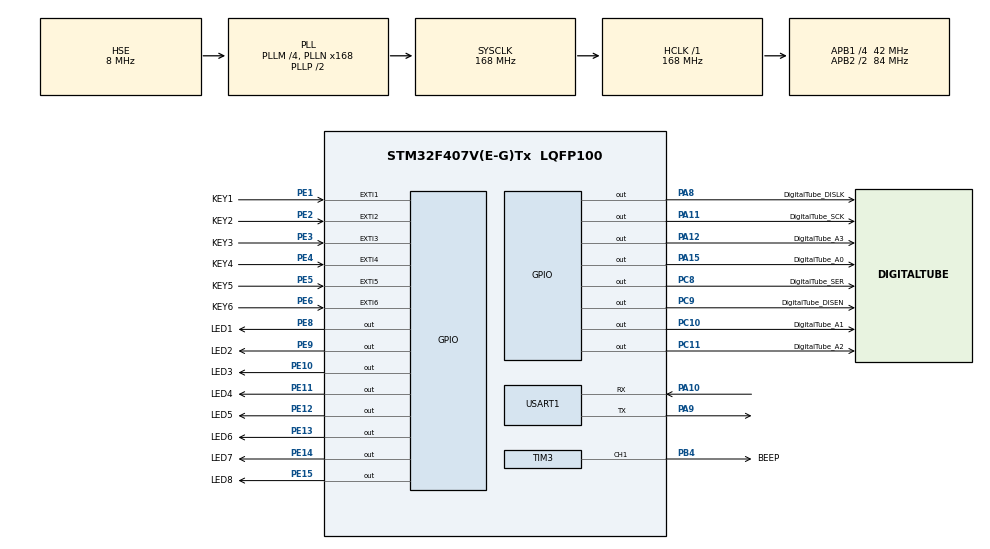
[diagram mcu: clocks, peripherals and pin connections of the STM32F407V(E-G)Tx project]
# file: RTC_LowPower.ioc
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FREERTOS.HEAP_NUMBER=4
FREERTOS.Tasks01=RTCTask,24,256,StartRTCTask,Default,NULL,Dynamic,NULL,NULL;KeyTask,24,256,StartKeyTask,Default,NULL,Dynamic,NULL,NULL;BeepTask,24,256,StartBeepTask,Default,NULL,Dynamic,NULL,NULL;DigitaTubeTask,24,256,StartDigitaTubeTask,Default,NULL,Dynamic,NULL,NULL;LedTask,24,256,StartLedTask,Default,NULL,Dynamic,NULL,NULL
FREERTOS.configENABLE_FPU=0
Mcu.Family=STM32F4
Mcu.Name=STM32F407V(E-G)Tx
Mcu.Package=LQFP100
NVIC.EXTI1_IRQn=true\:6\:0\:true\:false\:true\:true\:true\:true
NVIC.EXTI2_IRQn=true\:6\:0\:true\:false\:true\:true\:true\:true
NVIC.EXTI3_IRQn=true\:6\:0\:true\:false\:true\:true\:true\:true
NVIC.EXTI4_IRQn=true\:6\:0\:true\:false\:true\:true\:true\:true
NVIC.EXTI9_5_IRQn=true\:6\:0\:true\:false\:true\:true\:true\:true
NVIC.PriorityGroup=NVIC_PRIORITYGROUP_4
NVIC.RTC_Alarm_IRQn=true\:6\:0\:true\:false\:true\:true\:true\:true
NVIC.RTC_WKUP_IRQn=true\:6\:0\:true\:false\:true\:true\:true\:true
NVIC.TIM8_TRG_COM_TIM14_IRQn=true\:0\:0\:false\:false\:true\:false\:false\:true
NVIC.TimeBase=TIM8_TRG_COM_TIM14_IRQn
NVIC.TimeBaseIP=TIM14
PA10.Mode=Asynchronous
PA10.Signal=USART1_RX
PA11.GPIO_Label=DigitalTube_SCK
PA11.Signal=GPIO_Output
PA12.GPIO_Label=DigitalTube_A3
PA12.Signal=GPIO_Output
PA13.Mode=Serial_Wire
PA13.Signal=SYS_JTMS-SWDIO
PA14.Mode=Serial_Wire
PA14.Signal=SYS_JTCK-SWCLK
PA15.GPIO_Label=DigitalTube_A0
PA15.Signal=GPIO_Output
PA8.GPIO_Label=DigitalTube_DISLK
PA8.Signal=GPIO_Output
PA9.Mode=Asynchronous
PA9.Signal=USART1_TX
PB4.GPIO_Label=BEEP
PB4.Signal=S_TIM3_CH1
PC10.GPIO_Label=DigitalTube_A1
PC10.Signal=GPIO_Output
PC11.GPIO_Label=DigitalTube_A2
PC11.Signal=GPIO_Output
PC14-OSC32_IN.Mode=LSE-External-Oscillator
PC14-OSC32_IN.Signal=RCC_OSC32_IN
PC15-OSC32_OUT.Mode=LSE-External-Oscillator
PC15-OSC32_OUT.Signal=RCC_OSC32_OUT
PC8.GPIO_Label=DigitalTube_SER
PC8.Signal=GPIO_Output
PC9.GPIO_Label=DigitalTube_DISEN
PC9.Signal=GPIO_Output
PE1.GPIO_Label=KEY1
PE1.GPIO_ModeDefaultEXTI=GPIO_MODE_IT_RISING
PE1.GPIO_PuPd=GPIO_PULLUP
PE1.Signal=GPXTI1
PE10.GPIO_Label=LED3
PE10.PinState=GPIO_PIN_SET
PE10.Signal=GPIO_Output
PE11.GPIO_Label=LED4
PE11.PinState=GPIO_PIN_SET
PE11.Signal=GPIO_Output
PE12.GPIO_Label=LED5
PE12.PinState=GPIO_PIN_SET
PE12.Signal=GPIO_Output
PE13.GPIO_Label=LED6
PE13.PinState=GPIO_PIN_SET
PE13.Signal=GPIO_Output
PE14.GPIO_Label=LED7
PE14.PinState=GPIO_PIN_SET
PE14.Signal=GPIO_Output
PE15.GPIO_Label=LED8
PE15.PinState=GPIO_PIN_SET
PE15.Signal=GPIO_Output
PE2.GPIO_Label=KEY2
PE2.GPIO_ModeDefaultEXTI=GPIO_MODE_IT_RISING
PE2.GPIO_PuPd=GPIO_PULLUP
PE2.Signal=GPXTI2
PE3.GPIO_Label=KEY3
PE3.GPIO_ModeDefaultEXTI=GPIO_MODE_IT_RISING
PE3.GPIO_PuPd=GPIO_PULLUP
PE3.Signal=GPXTI3
PE4.GPIO_Label=KEY4
PE4.GPIO_ModeDefaultEXTI=GPIO_MODE_IT_RISING
PE4.GPIO_PuPd=GPIO_PULLUP
PE4.Signal=GPXTI4
PE5.GPIO_Label=KEY5
PE5.GPIO_PuPd=GPIO_PULLDOWN
PE5.Signal=GPXTI5
PE6.GPIO_Label=KEY6
PE6.GPIO_PuPd=GPIO_PULLDOWN
PE6.Signal=GPXTI6
PE8.GPIO_Label=LED1
PE8.PinState=GPIO_PIN_SET
PE8.Signal=GPIO_Output
PE9.GPIO_Label=LED2
PE9.PinState=GPIO_PIN_SET
PE9.Signal=GPIO_Output
PH0-OSC_IN.Mode=HSE-External-Oscillator
PH0-OSC_IN.Signal=RCC_OSC_IN
PH1-OSC_OUT.Mode=HSE-External-Oscillator
PH1-OSC_OUT.Signal=RCC_OSC_OUT
ProjectManager.HeapSize=0x200
ProjectManager.StackSize=0x400
ProjectManager.TargetToolchain=SW4STM32
RCC.48MHZClocksFreq_Value=84000000
RCC.AHBFreq_Value=168000000
RCC.APB1CLKDivider=RCC_HCLK_DIV4
RCC.APB1Freq_Value=42000000
RCC.APB1TimFreq_Value=84000000
RCC.APB2CLKDivider=RCC_HCLK_DIV2
RCC.APB2Freq_Value=84000000
RCC.APB2TimFreq_Value=168000000
RCC.CortexFreq_Value=168000000
RCC.HCLKFreq_Value=168000000
RCC.HSE_VALUE=8000000
RCC.HSI_VALUE=16000000
RCC.PLLM=4
RCC.PLLN=168
RCC.PLLSourceVirtual=RCC_PLLSOURCE_HSE
RCC.RCC_RTC_Clock_SourceVirtual=RCC_RTCCLKSOURCE_LSE
RCC.RCC_RTC_Clock_Source_FROM_HSE=RCC_RTCCLKSOURCE_HSE_DIV8
RCC.SYSCLKFreq_VALUE=168000000
RCC.SYSCLKSource=RCC_SYSCLKSOURCE_PLLCLK
RCC.VCOOutputFreq_Value=336000000
RTC.Alarm=RTC_ALARM_A
RTC.Date=8
RTC.Format=RTC_FORMAT_BIN
RTC.Hours=22
RTC.Minutes=20
RTC.Month=RTC_MONTH_DECEMBER
RTC.WeekDay=RTC_WEEKDAY_TUESDAY
RTC.Year=20
SH.S_TIM3_CH1.0=TIM3_CH1,PWM Generation1 CH1
TIM3.AutoReloadPreload=TIM_AUTORELOAD_PRELOAD_ENABLE
TIM3.Channel-PWM\ Generation1\ CH1=TIM_CHANNEL_1
TIM3.OCPolarity_1=TIM_OCPOLARITY_LOW
TIM3.Period=299
TIM3.Prescaler=83
TIM3.Pulse-PWM\ Generation1\ CH1=200
USART1.VirtualMode=VM_ASYNC
VP_FREERTOS_VS_CMSIS_V2.Mode=CMSIS_V2
VP_RTC_VS_RTC_Activate.Mode=RTC_Enabled
VP_RTC_VS_RTC_Alarm_A_Intern.Mode=Alarm A
VP_RTC_VS_RTC_Calendar.Mode=RTC_Calendar
VP_RTC_VS_RTC_WakeUp_intern.Mode=WakeUp
VP_SYS_VS_tim14.Mode=TIM14
board=custom

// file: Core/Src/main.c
/* USER CODE BEGIN Header */
/**
  ******************************************************************************
  * @file           : main.c
  * @brief          : Main program body
  ******************************************************************************
  * @attention
  *
  * <h2><center>&copy; Copyright (c) 2020 STMicroelectronics.
  * All rights reserved.</center></h2>
  *
  * This software component is licensed by ST under Ultimate Liberty license
  * SLA0044, the "License"; You may not use this file except in compliance with
  * the License. You may obtain a copy of the License at:
  *                             www.st.com/SLA0044
  *
  ******************************************************************************
  */
/* USER CODE END Header */
#include "main.h"
#include "cmsis_os.h"
#include "rtc.h"
#include "tim.h"
#include "usart.h"
#include "gpio.h"

/* USER CODE BEGIN Includes */
#include <stdio.h>
/* USER CODE END Includes */

void SystemClock_Config(void);
void MX_FREERTOS_Init(void);

int main(void)
{

  /* MCU Configuration--------------------------------------------------------*/

  /* Reset of all peripherals, Initializes the Flash interface and the Systick. */
  HAL_Init();

  /* Configure the system clock */
  SystemClock_Config();

  /* Initialize all configured peripherals */
  MX_GPIO_Init();
  MX_USART1_UART_Init();
  MX_TIM3_Init();
  MX_RTC_Init();
  /* USER CODE BEGIN 2 */
    HAL_RTCEx_DeactivateWakeUpTimer(&hrtc);//�ر�RTC���ѹ���
    HAL_RTC_DeactivateAlarm(&hrtc, RTC_ALARM_A);//�ر�RTC���幦��
  /* USER CODE END 2 */

  /* Init scheduler */
  osKernelInitialize();  /* Call init function for freertos objects (in freertos.c) */
  MX_FREERTOS_Init();
  /* Start scheduler */
  osKernelStart();

  /* We should never get here as control is now taken by the scheduler */
  /* Infinite loop */
  while (1)
  {

  }
}

void SystemClock_Config(void)
{
  RCC_OscInitTypeDef RCC_OscInitStruct = {0};
  RCC_ClkInitTypeDef RCC_ClkInitStruct = {0};
  RCC_PeriphCLKInitTypeDef PeriphClkInitStruct = {0};

  /** Configure the main internal regulator output voltage
  */
  __HAL_RCC_PWR_CLK_ENABLE();
  __HAL_PWR_VOLTAGESCALING_CONFIG(PWR_REGULATOR_VOLTAGE_SCALE1);
  /** Initializes the RCC Oscillators according to the specified parameters
  * in the RCC_OscInitTypeDef structure.
  */
  RCC_OscInitStruct.OscillatorType = RCC_OSCILLATORTYPE_HSE|RCC_OSCILLATORTYPE_LSE;
  RCC_OscInitStruct.HSEState = RCC_HSE_ON;
  RCC_OscInitStruct.LSEState = RCC_LSE_ON;
  RCC_OscInitStruct.PLL.PLLState = RCC_PLL_ON;
  RCC_OscInitStruct.PLL.PLLSource = RCC_PLLSOURCE_HSE;
  RCC_OscInitStruct.PLL.PLLM = 4;
  RCC_OscInitStruct.PLL.PLLN = 168;
  RCC_OscInitStruct.PLL.PLLP = RCC_PLLP_DIV2;
  RCC_OscInitStruct.PLL.PLLQ = 4;
  if (HAL_RCC_OscConfig(&RCC_OscInitStruct) != HAL_OK)
  {
    Error_Handler();
  }
  /** Initializes the CPU, AHB and APB buses clocks
  */
  RCC_ClkInitStruct.ClockType = RCC_CLOCKTYPE_HCLK|RCC_CLOCKTYPE_SYSCLK
                              |RCC_CLOCKTYPE_PCLK1|RCC_CLOCKTYPE_PCLK2;
  RCC_ClkInitStruct.SYSCLKSource = RCC_SYSCLKSOURCE_PLLCLK;
  RCC_ClkInitStruct.AHBCLKDivider = RCC_SYSCLK_DIV1;
  RCC_ClkInitStruct.APB1CLKDivider = RCC_HCLK_DIV4;
  RCC_ClkInitStruct.APB2CLKDivider = RCC_HCLK_DIV2;

  if (HAL_RCC_ClockConfig(&RCC_ClkInitStruct, FLASH_LATENCY_5) != HAL_OK)
  {
    Error_Handler();
  }
  PeriphClkInitStruct.PeriphClockSelection = RCC_PERIPHCLK_RTC;
  PeriphClkInitStruct.RTCClockSelection = RCC_RTCCLKSOURCE_LSE;
  if (HAL_RCCEx_PeriphCLKConfig(&PeriphClkInitStruct) != HAL_OK)
  {
    Error_Handler();
  }
}

 /**
  * @brief  Period elapsed callback in non blocking mode
  * @note   This function is called  when TIM14 interrupt took place, inside
  * HAL_TIM_IRQHandler(). It makes a direct call to HAL_IncTick() to increment
  * a global variable "uwTick" used as application time base.
  * @param  htim : TIM handle
  * @retval None
  */
void HAL_TIM_PeriodElapsedCallback(TIM_HandleTypeDef *htim)
{
  if (htim->Instance == TIM14) {
    HAL_IncTick();
  }
}

void Error_Handler(void)
{
  /* USER CODE BEGIN Error_Handler_Debug */
  /* User can add his own implementation to report the HAL error return state */
//  __disable_irq();
//  while (1)
//  {
//  }
  /* USER CODE END Error_Handler_Debug */
}

/************************ (C) COPYRIGHT STMicroelectronics *****END OF FILE****/

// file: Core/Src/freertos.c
/* USER CODE BEGIN Header */
/**
  ******************************************************************************
  * File Name          : freertos.c
  * Description        : Code for freertos applications
  ******************************************************************************
  * @attention
  *
  * <h2><center>&copy; Copyright (c) 2020 STMicroelectronics.
  * All rights reserved.</center></h2>
  *
  * This software component is licensed by ST under Ultimate Liberty license
  * SLA0044, the "License"; You may not use this file except in compliance with
  * the License. You may obtain a copy of the License at:
  *                             www.st.com/SLA0044
  *
  ******************************************************************************
  */
/* USER CODE END Header */

#include "FreeRTOS.h"
#include "task.h"
#include "main.h"
#include "cmsis_os.h"

/* USER CODE BEGIN Includes */
#include <stdbool.h>
#include <stdio.h>
#include "rtc.h"
#include "DigitalTube.h"
#include "tim.h"
#include "LED.h"
/* USER CODE END Includes */

/* USER CODE BEGIN Variables */
uint8_t seg[4];//数码管

bool beep_switch = false;

bool led_switch = true;
uint32_t led_control_time = 200;

bool rtc_setting_switch = false;
uint8_t rtc_show_flag = 4;

bool low_power_swich = false;
/* USER CODE END Variables */
/* Definitions for RTCTask */
osThreadId_t RTCTaskHandle;
const osThreadAttr_t RTCTask_attributes = {
  .name = "RTCTask",
  .priority = (osPriority_t) osPriorityNormal,
  .stack_size = 256 * 4
};
/* Definitions for KeyTask */
osThreadId_t KeyTaskHandle;
const osThreadAttr_t KeyTask_attributes = {
  .name = "KeyTask",
  .priority = (osPriority_t) osPriorityNormal,
  .stack_size = 256 * 4
};
/* Definitions for BeepTask */
osThreadId_t BeepTaskHandle;
const osThreadAttr_t BeepTask_attributes = {
  .name = "BeepTask",
  .priority = (osPriority_t) osPriorityNormal,
  .stack_size = 256 * 4
};
/* Definitions for DigitaTubeTask */
osThreadId_t DigitaTubeTaskHandle;
const osThreadAttr_t DigitaTubeTask_attributes = {
  .name = "DigitaTubeTask",
  .priority = (osPriority_t) osPriorityNormal,
  .stack_size = 256 * 4
};
/* Definitions for LedTask */
osThreadId_t LedTaskHandle;
const osThreadAttr_t LedTask_attributes = {
  .name = "LedTask",
  .priority = (osPriority_t) osPriorityNormal,
  .stack_size = 256 * 4
};

/* USER CODE BEGIN FunctionPrototypes */
void EnterSleepMode(void);

void EnterStopMode(void);

/* USER CODE END FunctionPrototypes */

void StartRTCTask(void *argument);
void StartKeyTask(void *argument);
void StartBeepTask(void *argument);
void StartDigitaTubeTask(void *argument);
void StartLedTask(void *argument);

void MX_FREERTOS_Init(void); /* (MISRA C 2004 rule 8.1) */

void MX_FREERTOS_Init(void) {

  /* Create the thread(s) */
  /* creation of RTCTask */
  RTCTaskHandle = osThreadNew(StartRTCTask, NULL, &RTCTask_attributes);

  /* creation of KeyTask */
  KeyTaskHandle = osThreadNew(StartKeyTask, NULL, &KeyTask_attributes);

  /* creation of BeepTask */
  BeepTaskHandle = osThreadNew(StartBeepTask, NULL, &BeepTask_attributes);

  /* creation of DigitaTubeTask */
  DigitaTubeTaskHandle = osThreadNew(StartDigitaTubeTask, NULL, &DigitaTubeTask_attributes);

  /* creation of LedTask */
  LedTaskHandle = osThreadNew(StartLedTask, NULL, &LedTask_attributes);

}

void StartRTCTask(void *argument)
{
  /* USER CODE BEGIN StartRTCTask */
    uint32_t tick = 0;
    /* Infinite loop */
    for (;;) {
        if (osKernelGetTickCount() - tick >= 1000) {
            tick = osKernelGetTickCount();
            if (ReadRTCDateTime() == HAL_OK) {//每秒读取一次RTC时间
                switch (rtc_show_flag) {
                    case 1:
                        seg[0] = RTC_Year / 1000;
                        seg[1] = (RTC_Year % 1000) / 100;
                        seg[2] = (RTC_Year % 100) / 10;
                        seg[3] = RTC_Year % 10;
                        break;

                    case 2:
                        seg[0] = RTC_Mon / 10;
                        seg[1] = RTC_Mon % 10;
                        seg[2] = RTC_Dat / 10;
                        seg[3] = RTC_Dat % 10;
                        break;

                    case 3:
                        seg[0] = RTC_Hour / 10;
                        seg[1] = RTC_Hour % 10;
                        seg[2] = RTC_Min / 10;
                        seg[3] = RTC_Min % 10;
                        break;

                    case 4:
                        seg[0] = RTC_Min / 10;
                        seg[1] = RTC_Min % 10;
                        seg[2] = RTC_Sec / 10;
                        seg[3] = RTC_Sec % 10;
                        break;

                    default:
                        break;
                }
            }
        }
        osDelay(1);
    }
  /* USER CODE END StartRTCTask */
}

void StartKeyTask(void *argument)
{
  /* USER CODE BEGIN StartKeyTask */
    uint8_t key_state;
    uint32_t key_tick = 0;
    /* Infinite loop */
    for (;;) {
        //扫描按键
        key_state = 0;
        if (HAL_GPIO_ReadPin(KEY1_GPIO_Port, KEY1_Pin) == GPIO_PIN_RESET) {
            osDelay(10);
            if (HAL_GPIO_ReadPin(KEY1_GPIO_Port, KEY1_Pin) == GPIO_PIN_RESET) {
                key_state = 1;
            }
            while (HAL_GPIO_ReadPin(KEY1_GPIO_Port, KEY1_Pin) == GPIO_PIN_RESET) {
                osDelay(1);
            }
        } else if (HAL_GPIO_ReadPin(KEY2_GPIO_Port, KEY2_Pin) == GPIO_PIN_RESET) {
            osDelay(10);
            if (HAL_GPIO_ReadPin(KEY2_GPIO_Port, KEY2_Pin) == GPIO_PIN_RESET) {
                key_state = 2;
            }
            while (HAL_GPIO_ReadPin(KEY2_GPIO_Port, KEY2_Pin) == GPIO_PIN_RESET) {
                osDelay(1);
            }
        } else if (HAL_GPIO_ReadPin(KEY3_GPIO_Port, KEY3_Pin) == GPIO_PIN_RESET) {
            osDelay(10);
            if (HAL_GPIO_ReadPin(KEY3_GPIO_Port, KEY3_Pin) == GPIO_PIN_RESET) {
                key_state = 3;
            }
            while (HAL_GPIO_ReadPin(KEY3_GPIO_Port, KEY3_Pin) == GPIO_PIN_RESET) {
                osDelay(1);
            }
        } else if (HAL_GPIO_ReadPin(KEY4_GPIO_Port, KEY4_Pin) == GPIO_PIN_RESET) {
            osDelay(10);
            if (HAL_GPIO_ReadPin(KEY4_GPIO_Port, KEY4_Pin) == GPIO_PIN_RESET) {
                key_state = 4;
            }
            while (HAL_GPIO_ReadPin(KEY4_GPIO_Port, KEY4_Pin) == GPIO_PIN_RESET) {
                osDelay(1);
            }
        } else if (HAL_GPIO_ReadPin(KEY5_GPIO_Port, KEY5_Pin) == GPIO_PIN_SET) {
            osDelay(10);
            if (HAL_GPIO_ReadPin(KEY5_GPIO_Port, KEY5_Pin) == GPIO_PIN_SET) {
                key_state = 5;
            }
            while (HAL_GPIO_ReadPin(KEY5_GPIO_Port, KEY5_Pin) == GPIO_PIN_SET) {
                osDelay(1);
            }
        } else if (HAL_GPIO_ReadPin(KEY6_GPIO_Port, KEY6_Pin) == GPIO_PIN_SET) {
            osDelay(10);
            if (HAL_GPIO_ReadPin(KEY6_GPIO_Port, KEY6_Pin) == GPIO_PIN_SET) {
                key_state = 6;
            }
            while (HAL_GPIO_ReadPin(KEY6_GPIO_Port, KEY6_Pin) == GPIO_PIN_SET) {
                osDelay(1);
            }
        }

        if (low_power_swich == true) {
            if (osKernelGetTickCount() > key_tick + 10 * 1000) {
                __HAL_TIM_SET_AUTORELOAD(&htim3, 549);
                beep_switch = true;
                osDelay(100);
//                EnterStopMode();
                EnterSleepMode();
                key_tick = osKernelGetTickCount();
            } else if (key_state > 0) {
                key_tick = osKernelGetTickCount();
            }
        }
        //按键触发控制
        switch (key_state) {
            case 1:
                if (rtc_setting_switch == true) {
                    switch (rtc_show_flag) {
                        case 1:
                            RTC_Year++;
                            SetRTCDate(RTC_Year, RTC_Mon, RTC_Dat);
                            break;

                        case 2:
                            if (RTC_Mon < 12) {
                                RTC_Mon++;
                            } else {
                                RTC_Mon = 1;
                            }
                            SetRTCDate(RTC_Year, RTC_Mon, RTC_Dat);
                            break;

                        case 3:
                            if (RTC_Hour < 23) {
                                RTC_Hour++;
                            } else {
                                RTC_Hour = 0;
                            }
                            SetRTCTime(RTC_Hour, RTC_Min, RTC_Sec);
                            break;

                        case 4:
                            if (RTC_Min < 59) {
                                RTC_Min++;
                            } else {
                                RTC_Min = 0;
                            }
                            SetRTCTime(RTC_Hour, RTC_Min, RTC_Sec);
                            break;

                        default:
                            break;
                    }
                } else {
                    rtc_show_flag = 1;
                }
                break;

            case 2:
                if (rtc_setting_switch == true) {
                    switch (rtc_show_flag) {
                        case 2:
                            if (RTC_Dat > 1) {
                                RTC_Dat--;
                            } else {
                                RTC_Dat = 31;
                            }
                            SetRTCDate(RTC_Year, RTC_Mon, RTC_Dat);
                            break;

                        case 3:
                            if (RTC_Min > 0) {
                                RTC_Min--;
                            } else {
                                RTC_Min = 59;
                            }
                            SetRTCTime(RTC_Hour, RTC_Min, RTC_Sec);
                            break;

                        case 4:
                            if (RTC_Sec > 0) {
                                RTC_Sec--;
                            } else {
                                RTC_Sec = 59;
                            }
                            SetRTCTime(RTC_Hour, RTC_Min, RTC_Sec);
                            break;

                        default:
                            break;
                    }
                } else {
                    rtc_show_flag = 2;
                }
                break;

            case 3:
                if (rtc_setting_switch == true) {
                    switch (rtc_show_flag) {
                        case 2:
                            if (RTC_Dat < 31) {
                                RTC_Dat++;
                            } else {
                                RTC_Dat = 1;
                            }
                            SetRTCDate(RTC_Year, RTC_Mon, RTC_Dat);
                            break;

                        case 3:
                            if (RTC_Min < 59) {
                                RTC_Min++;
                            } else {
                                RTC_Min = 0;
                            }
                            SetRTCTime(RTC_Hour, RTC_Min, RTC_Sec);
                            break;

                        case 4:
                            if (RTC_Sec < 59) {
                                RTC_Sec++;
                            } else {
                                RTC_Sec = 0;
                            }
                            SetRTCTime(RTC_Hour, RTC_Min, RTC_Sec);
                            break;

                        default:
                            break;
                    }
                } else {
                    rtc_show_flag = 3;
                }
                break;

            case 4:
                if (rtc_setting_switch == true) {
                    switch (rtc_show_flag) {
                        case 1:
                            RTC_Year--;
                            SetRTCDate(RTC_Year, RTC_Mon, RTC_Dat);
                            break;

                        case 2:
                            if (RTC_Mon > 1) {
                                RTC_Mon--;
                            } else {
                                RTC_Mon = 12;
                            }
                            SetRTCDate(RTC_Year, RTC_Mon, RTC_Dat);
                            break;

                        case 3:
                            if (RTC_Hour > 0) {
                                RTC_Hour--;
                            } else {
                                RTC_Hour = 23;
                            }
                            SetRTCTime(RTC_Hour, RTC_Min, RTC_Sec);
                            break;

                        case 4:
                            if (RTC_Min > 0) {
                                RTC_Min--;
                            } else {
                                RTC_Min = 59;
                            }
                            SetRTCTime(RTC_Hour, RTC_Min, RTC_Sec);
                            break;

                        default:
                            break;
                    }
                } else {
                    rtc_show_flag = 4;
                }
                break;

            case 5://进入/退出RTC时间配置模式
                if (low_power_swich == false){
                    rtc_setting_switch = !rtc_setting_switch;
                }
                break;

            case 6://进入/关闭节电模式
                low_power_swich = !low_power_swich;
                if (low_power_swich == true) {
                    key_tick = osKernelGetTickCount();
                }
                break;

            default:
                break;
        }
        osDelay(1);
    }
  /* USER CODE END StartKeyTask */
}

void StartBeepTask(void *argument)
{
  /* USER CODE BEGIN StartBeepTask */

    /* Infinite loop */
    for (;;) {
        if (beep_switch == true) {
            HAL_TIM_PWM_Start(&htim3, TIM_CHANNEL_1);//使能输出
            osDelay(100);
            HAL_TIM_PWM_Stop(&htim3, TIM_CHANNEL_1);
            beep_switch = false;
        }
        osDelay(1);
    }
  /* USER CODE END StartBeepTask */
}

void StartDigitaTubeTask(void *argument)
{
  /* USER CODE BEGIN StartDigitaTubeTask */
    /* Infinite loop */
    for (;;) {
        for (int i = 0; i < 4; ++i) {
            if (rtc_show_flag == 4) {
                if (rtc_setting_switch == true) {
                    if (osKernelGetTickCount() % 1000 < 300) {
                        Write595(i, 0xff, 0);
                    } else {
                        if (i == 1) {
                            Write595(i, seg[i], 1);
                        } else {
                            Write595(i, seg[i], 0);
                        }
                    }
                } else if (low_power_swich == true) {
                    if (osKernelGetTickCount() % 1000 < 50) {
                        Write595(i, 0xff, 0);
                    } else {
                        if (i == 1 && osKernelGetTickCount() % 1000 < 500) {
                            Write595(i, seg[i], 1);
                        } else {
                            Write595(i, seg[i], 0);
                        }
                    }
                } else {
                    if (i == 1 && osKernelGetTickCount() % 1000 < 500) {
                        Write595(i, seg[i], 1);
                    } else {
                        Write595(i, seg[i], 0);
                    }
                }
            } else if (rtc_show_flag == 1) {
                if (rtc_setting_switch == true) {
                    if (osKernelGetTickCount() % 1000 < 300) {
                        Write595(i, 0xff, 0);
                    } else {
                        Write595(i, seg[i], 0);
                    }
                } else if (low_power_swich == true) {
                    if (osKernelGetTickCount() % 1000 < 50) {
                        Write595(i, 0xff, 0);
                    } else {
                        Write595(i, seg[i], 0);
                    }
                } else {
                    Write595(i, seg[i], 0);
                }
            } else {
                if (rtc_setting_switch == true) {
                    if (osKernelGetTickCount() % 1000 < 300) {
                        Write595(i, 0xff, 0);
                    } else {
                        if (i == 1) {
                            Write595(i, seg[i], 1);
                        } else {
                            Write595(i, seg[i], 0);
                        }
                    }
                } else if (low_power_swich == true) {
                    if (osKernelGetTickCount() % 1000 < 50) {
                        Write595(i, 0xff, 0);
                    } else {
                        if (i == 1) {
                            Write595(i, seg[i], 1);
                        } else {
                            Write595(i, seg[i], 0);
                        }
                    }
                } else {
                    if (i == 1) {
                        Write595(i, seg[i], 1);
                    } else {
                        Write595(i, seg[i], 0);
                    }
                }
            }
            osDelay(5);
        }
    }
  /* USER CODE END StartDigitaTubeTask */
}

void StartLedTask(void *argument)
{
  /* USER CODE BEGIN StartLedTask */
    uint8_t led_id = 1;
    /* Infinite loop */
    for (;;) {
        if (led_switch) {
            turnoffLED();
            selectLED(led_id);
            if (led_id == 8) {
                led_id = 1;
            } else {
                led_id++;
            }
            osDelay(led_control_time);
        }
        osDelay(1);
    }
  /* USER CODE END StartLedTask */
}

/* USER CODE BEGIN Application */
void EnterSleepMode(void) {
    HAL_RTCEx_SetWakeUpTimer_IT(&hrtc, 10, RTC_WAKEUPCLOCK_CK_SPRE_16BITS);//开启RTC唤醒中断,10秒后唤醒
    SysTick->CTRL &= ~SysTick_CTRL_ENABLE_Msk;//关闭滴答定时器
    HAL_PWR_EnterSLEEPMode(PWR_MAINREGULATOR_ON, PWR_SLEEPENTRY_WFI);//开始睡眠模式
}

void EnterStopMode(void) {
    HAL_RTCEx_SetWakeUpTimer_IT(&hrtc, 10, RTC_WAKEUPCLOCK_CK_SPRE_16BITS);//开启RTC唤醒中断,10秒后唤醒
    SysTick->CTRL &= ~SysTick_CTRL_ENABLE_Msk;//关闭滴答定时器
    HAL_PWR_EnterSTOPMode(PWR_MAINREGULATOR_ON, PWR_STOPENTRY_WFI);//开始停止模式
}
/* USER CODE END Application */

/************************ (C) COPYRIGHT STMicroelectronics *****END OF FILE****/
